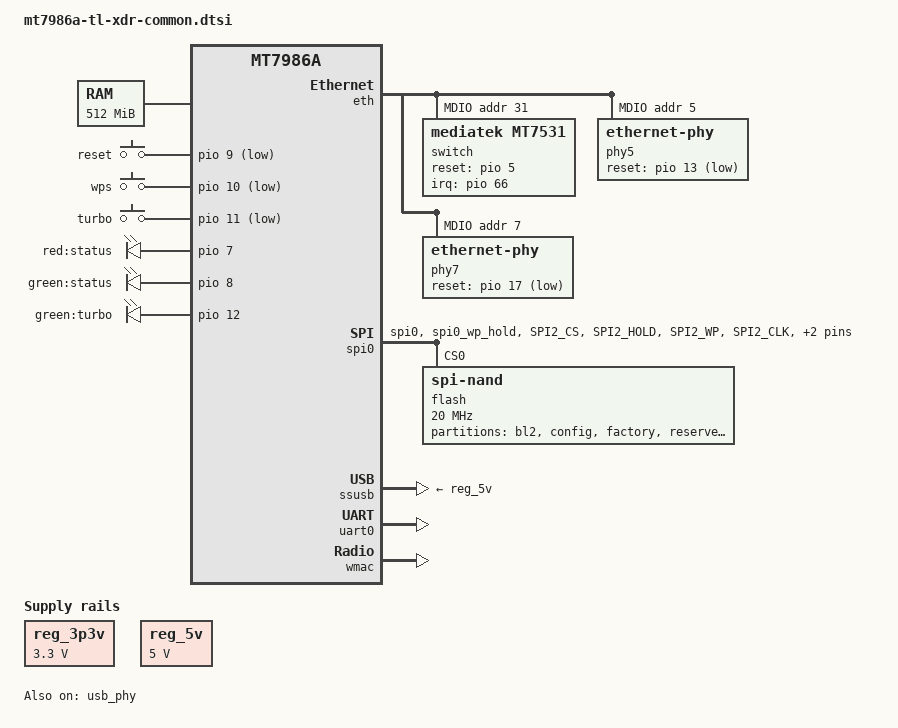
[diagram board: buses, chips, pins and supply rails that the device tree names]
// SPDX-License-Identifier: GPL-2.0-or-later OR MIT

#include <dt-bindings/gpio/gpio.h>
#include <dt-bindings/input/input.h>

#include "mt7986a.dtsi"

/ {
	aliases {
		serial0 = &uart0;
		label-mac-device = &gmac0;
		led-boot = &led_status_red;
		led-failsafe = &led_status_red;
		led-running = &led_status_green;
		led-upgrade = &led_status_green;
	};

	chosen {
		stdout-path = "serial0:115200n8";
	};

	memory {
		reg = <0 0x40000000 0 0x20000000>;
	};

	reg_3p3v: regulator-3p3v {
		compatible = "regulator-fixed";
		regulator-name = "fixed-3.3V";
		regulator-min-microvolt = <3300000>;
		regulator-max-microvolt = <3300000>;
		regulator-boot-on;
		regulator-always-on;
	};

	reg_5v: regulator-5v {
		compatible = "regulator-fixed";
		regulator-name = "fixed-5V";
		regulator-min-microvolt = <5000000>;
		regulator-max-microvolt = <5000000>;
		regulator-boot-on;
		regulator-always-on;
	};

	keys {
		compatible = "gpio-keys";

		reset {
			label = "reset";
			linux,code = <KEY_RESTART>;
			gpios = <&pio 9 GPIO_ACTIVE_LOW>;
		};

		wps {
			label = "wps";
			linux,code = <KEY_WPS_BUTTON>;
			gpios = <&pio 10 GPIO_ACTIVE_LOW>;
		};

		turbo {
			label = "turbo";
			linux,code = <BTN_1>;
			gpios = <&pio 11 GPIO_ACTIVE_LOW>;
		};
	};

	leds {
		compatible = "gpio-leds";

		led_status_red: status_red {
			label = "red:status";
			gpios = <&pio 7 GPIO_ACTIVE_HIGH>;
		};

		led_status_green: status_green {
			label = "green:status";
			gpios = <&pio 8 GPIO_ACTIVE_HIGH>;
		};

		turbo {
			label = "green:turbo";
			gpios = <&pio 12 GPIO_ACTIVE_HIGH>;
		};
	};
};

&eth {
	status = "okay";

	gmac0: mac@0 {
		compatible = "mediatek,eth-mac";
		reg = <0>;
		phy-mode = "2500base-x";

		nvmem-cells = <&macaddr_config_1c>;
		nvmem-cell-names = "mac-address";

		fixed-link {
			speed = <2500>;
			full-duplex;
			pause;
		};
	};

	gmac1: mac@1 {
		compatible = "mediatek,eth-mac";
		reg = <1>;
		phy-handle = <&phy7>;
		phy-mode = "2500base-x";

		nvmem-cells = <&macaddr_config_1c>;
		nvmem-cell-names = "mac-address";
		mac-address-increment = <1>;
	};

	mdio: mdio-bus {
		#address-cells = <1>;
		#size-cells = <0>;
	};
};

&mdio {
	switch: switch@0 {
		compatible = "mediatek,mt7531";
		reg = <31>;
		reset-gpios = <&pio 5 GPIO_ACTIVE_HIGH>;
		interrupt-controller;
		#interrupt-cells = <1>;
		interrupt-parent = <&pio>;
		interrupts = <66 IRQ_TYPE_LEVEL_HIGH>;
	};

	phy5: ethernet-phy@5 {
		reg = <5>;
		reset-assert-us = <100000>;
		reset-deassert-us = <100000>;
		reset-gpios = <&pio 13 GPIO_ACTIVE_LOW>;
	};

	phy7: ethernet-phy@7 {
		reg = <7>;
		reset-assert-us = <100000>;
		reset-deassert-us = <100000>;
		reset-gpios = <&pio 17 GPIO_ACTIVE_LOW>;
	};
};

&spi0 {
	pinctrl-names = "default";
	pinctrl-0 = <&spi_flash_pins>;
	cs-gpios = <0>, <0>;
	status = "okay";

	flash@0 {
		compatible = "spi-nand";
		#address-cells = <1>;
		#size-cells = <1>;
		reg = <0>;

		spi-max-frequency = <20000000>;
		spi-tx-buswidth = <4>;
		spi-rx-buswidth = <4>;

		partitions {
			compatible = "fixed-partitions";
			#address-cells = <1>;
			#size-cells = <1>;

			partition@0 {
				label = "bl2";
				reg = <0x000000 0x0100000>;
				read-only;
			};

			config: partition@100000 {
				label = "config";
				reg = <0x100000 0x0060000>;
				read-only;
			};

			factory: partition@160000 {
				label = "factory";
				reg = <0x160000 0x0060000>;
				read-only;
			};

			partition@1c0000 {
				label = "reserved";
				reg = <0x1c0000 0x01c0000>;
				read-only;
			};

			partition@380000 {
				label = "fip";
				reg = <0x380000 0x0180000>;
				read-only;
			};

			partition@500000 {
				label = "ubi";
				reg = <0x500000 0x7300000>;
			};
		};
	};
};

&pio {
	spi_flash_pins: spi-flash-pins-33-to-38 {
		mux {
			function = "spi";
			groups = "spi0", "spi0_wp_hold";
		};
		conf-pu {
			pins = "SPI2_CS", "SPI2_HOLD", "SPI2_WP";
			drive-strength = <8>;
			mediatek,pull-up-adv = <0>; /* bias-disable */
		};
		conf-pd {
			pins = "SPI2_CLK", "SPI2_MOSI", "SPI2_MISO";
			drive-strength = <8>;
			mediatek,pull-down-adv = <0>; /* bias-disable */
		};
	};
};

&ssusb {
	vusb33-supply = <&reg_3p3v>;
	vbus-supply = <&reg_5v>;
	status = "okay";
};

&uart0 {
	status = "okay";
};

&usb_phy {
	status = "okay";
};

&wmac {
	mediatek,mtd-eeprom = <&factory 0x0>;
	nvmem-cells = <&macaddr_config_1c>;
	nvmem-cell-names = "mac-address";
	status = "okay";
};

&config {
	compatible = "nvmem-cells";
	#address-cells = <1>;
	#size-cells = <1>;

	macaddr_config_1c: macaddr@1c {
		reg = <0x1c 0x6>;
	};
};
